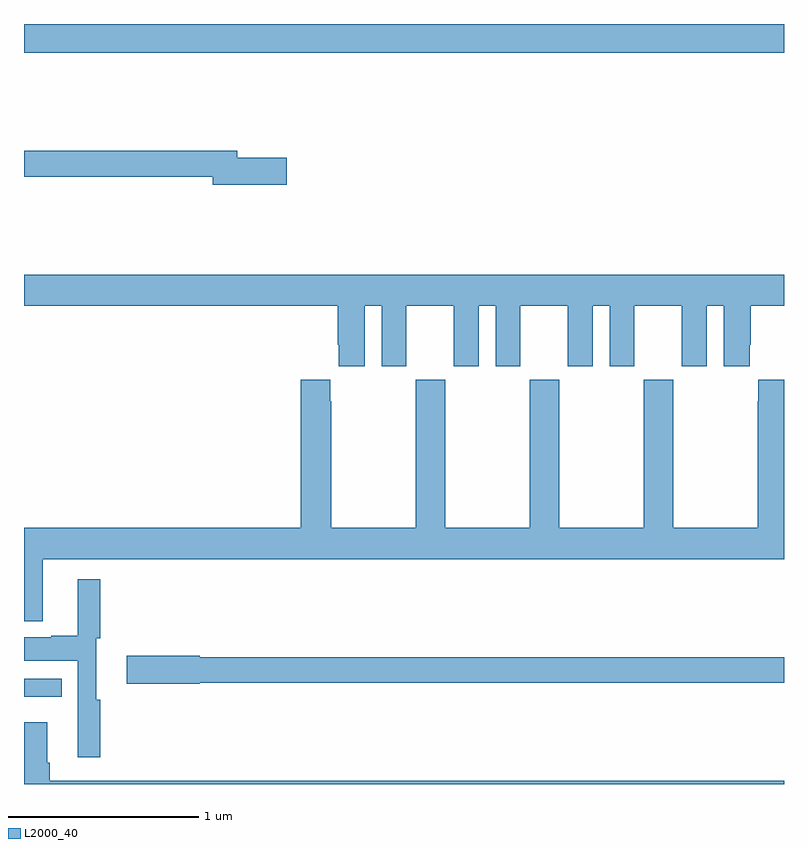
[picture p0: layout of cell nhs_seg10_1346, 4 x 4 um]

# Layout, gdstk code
import gdstk
lib = gdstk.Library(unit=1e-6, precision=1e-09)
def R(c, l, rs):  # rectangles x0, y0, x1, y1
    for r in rs: c.add(gdstk.rectangle(r[:2], r[2:], *l))
def P(c, l, *ps):  # polygons
    for p in ps: c.add(gdstk.Polygon(p, *l))
L2000_40 = (2000, 40)

nhs_seg10_1346 = lib.new_cell('nhs_seg10_1346')
R(nhs_seg10_1346, L2000_40, [(181,1264.958,181.199,1265.055), (181,1268.348,185,1268.5)])
P(nhs_seg10_1346, L2000_40, [(182.383,1267.796),(182.122,1267.796),(182.122,1267.832),(181,1267.832),(181,1267.696),(181.994,1267.696),(181.994,1267.654),(182.383,1267.654)],
  [(182.794,1267.016),(182.882,1267.016),(182.882,1266.699),(183.013,1266.699),(183.013,1267.016),(183.263,1267.016),(183.263,1266.699),(183.394,1266.699),(183.394,1267.016),(183.482,1267.016),(183.482,1266.699),(183.613,1266.699),(183.613,1267.016),(183.863,1267.016),(183.863,1266.699),(183.994,1266.699),(183.994,1267.016),(184.082,1267.016),(184.082,1266.699),(184.213,1266.699),(184.213,1267.016),(184.463,1267.016),(184.463,1266.699),(184.594,1266.699),(184.594,1267.016),(184.682,1267.016),(184.682,1266.699),(184.819,1266.699),(184.819,1266.811),(184.826,1266.811),(184.826,1267.016),(185,1267.016),(185,1267.18),(181,1267.18),(181,1267.016),(182.651,1267.016),(182.651,1266.811),(182.657,1266.811),(182.657,1266.699),(182.794,1266.699)],
  [(181.099,1265.684),(185,1265.684),(185,1266.628),(184.865,1266.628),(184.865,1266.515),(184.861,1266.515),(184.861,1265.848),(184.416,1265.848),(184.416,1266.628),(184.261,1266.628),(184.261,1265.848),(183.816,1265.848),(183.816,1266.628),(183.661,1266.628),(183.661,1265.848),(183.216,1265.848),(183.216,1266.628),(183.061,1266.628),(183.061,1265.848),(182.616,1265.848),(182.616,1266.515),(182.611,1266.515),(182.611,1266.628),(182.456,1266.628),(182.456,1265.848),(181,1265.848),(181,1265.357),(181.099,1265.357)],
  [(181.4,1264.943),(181.381,1264.943),(181.381,1265.268),(181.4,1265.268),(181.4,1265.578),(181.283,1265.578),(181.283,1265.28),(181.143,1265.28),(181.143,1265.272),(181,1265.272),(181,1265.15),(181.284,1265.15),(181.284,1264.907),(181.283,1264.907),(181.283,1264.641),(181.4,1264.641)],
  [(181.926,1265.032),(185,1265.032),(185,1265.168),(181.926,1265.168),(181.926,1265.174),(181.542,1265.174),(181.542,1265.027),(181.926,1265.027)],
  [(185,1264.516),(181.136,1264.516),(181.136,1264.612),(181.123,1264.612),(181.123,1264.825),(181,1264.825),(181,1264.5),(185,1264.5)])

lib.write_gds('nhs_seg10_1346.gds')
